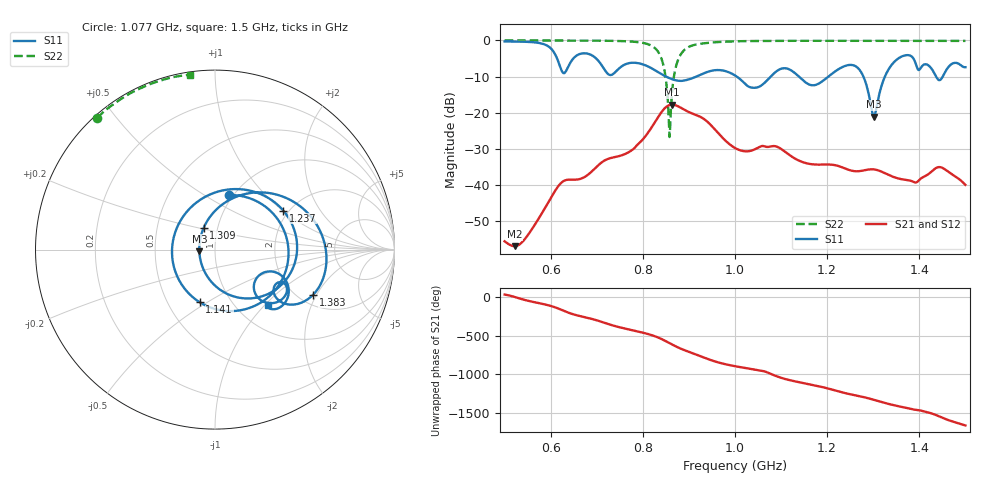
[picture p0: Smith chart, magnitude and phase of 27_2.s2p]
! TOUCHSTONE file generated by CST MICROWAVE STUDIO
! Date and time: Mon Nov 30 09:10:06 2020
! Project name: Scenario_1_Planar_Body_Tissue_Out_of_Line_v2.cst
! Parameters = {dy1=103.8; L_HA=400; Ltissue=700; MT=2.54; Rad_Dielectric=30; Rad_Lower=7.3; Rad_Upper=30; Wtissue=700; a_HA=580; a_WG=246; b_HA=500; b_WG=121; c_HA=0; c_WG=187; d_feed=85; dx1=346; h_feed=15; h_lower=18; h_upper=40; hfat=3; hgap=25; hmuscle=50; hskin=1.5}
! Header version: 2018
! Port assignment regex: !\s*Touchstone port\s*([0-9]+)\s*=\s*(CST MWS port|CST DS port)\s*([0-9]+|Zmin|Zmax)\s*\(\"(.*)\"\)(\s*mode\s*([0-9]+))?.*
! Touchstone port assignment:
! Touchstone port 1 = CST MWS port 1 ("")
! Touchstone port 2 = CST MWS port 2 ("")
# GHz S DB R 50
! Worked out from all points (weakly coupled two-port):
!   1003 points, 500 MHz to 1.5 GHz, reference 50 ohm
!   highest |S21| = -17.81 dB at 863 MHz (marker M1); lowest = -57.0 dB at 522 MHz (marker M2)
!   lowest |S11| = -21.1 dB at 1.301 GHz (marker M3), VSWR 1.19, Z = 42 - j0.762 ohm
!   |S11| at or under -10 dB: 849.9 MHz to 916.4 MHz (66.52 MHz wide, 7.53 % of centre); 1.004 GHz to 1.078 GHz (74.07 MHz wide, 7.12 % of centre); 1.138 GHz to 1.203 GHz (64.31 MHz wide, 5.49 % of centre)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
!   |S22| runs from -26.8 to 0.0 dB; largest |S21 - S12| = 6.2e-05
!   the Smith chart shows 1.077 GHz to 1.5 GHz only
!   S11 on the Smith chart (normalised r, x): 1.077 GHz: 0.95, +0.64; 1.141 GHz: 0.72, -0.46; 1.237 GHz: 1.88, +1.01; 1.309 GHz: 0.86, +0.21; 1.383 GHz: 2.38, -1.87; 1.5 GHz: 1.39, -1.04
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0.5  -0.28 -121.8  -55.68 30.5  -55.68 30.5  -0.01 151.2
0.522  -0.31 -130.9  -57.03 -0.9  -57.04 -0.8  -0.01 149.7
0.667  -3.63 157.8  -38.26 106.6  -38.26 106.6  -0.04 138.4
0.695  -4.60 102.4  -35.62 65.6  -35.62 65.6  -0.06 135.4
0.717  -8.12 26.5  -33.28 24.2  -33.28 24.2  -0.09 132.7
0.741  -8.68 -95.6  -32.29 -20.0  -32.29 -20.0  -0.14 129.1
0.77  -6.29 175.5  -30.93 -61.5  -30.93 -61.5  -0.27 123.1
0.834  -8.89 34.0  -21.09 -167.8  -21.09 -167.8  -3.32 84.0
0.863  -10.73 -43.1  -17.81 105.0  -17.81 105.0  -14.92 -133.3
0.883  -11.22 -104.3  -18.70 48.3  -18.70 48.3  -3.73 -175.5
0.941  -8.69 83.5  -22.65 -83.9  -22.65 -83.9  -0.68 151.1
1  -9.70 -57.6  -29.81 -177.1  -29.81 -177.1  -0.25 140.4
1.077  -10.08 75.9  -29.39 84.8  -29.39 84.8  -0.14 131.8
1.106  -7.71 -9.2  -30.61 21.7  -30.61 21.7  -0.11 129.2
1.141  -10.30 -106.1  -33.44 -26.4  -33.44 -26.4  -0.11 126.2
1.167  -12.42 179.2  -34.33 -57.3  -34.33 -57.3  -0.10 124.2
1.237  -7.16 29.7  -35.40 -162.9  -35.40 -162.9  -0.08 118.9
1.301  -21.13 -174.1  -35.75 107.6  -35.75 107.6  -0.09 114.0
1.309  -17.39 118.3  -35.95 93.5  -35.95 93.5  -0.09 113.4
1.334  -7.87 52.1  -37.31 52.9  -37.31 52.9  -0.08 111.5
1.383  -4.41 -24.7  -38.98 -12.7  -38.98 -12.7  -0.09 107.7
1.5  -7.42 -45.9  -40.05 135.6  -40.05 135.6  -0.14 98.0
